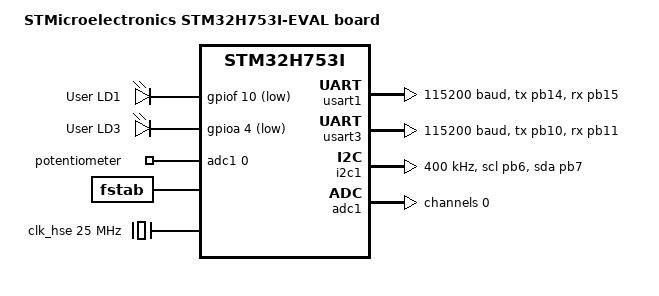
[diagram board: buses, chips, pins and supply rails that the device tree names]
/dts-v1/;
#include <st/h7/stm32h753Xi.dtsi>
#include <st/h7/stm32h753xihx-pinctrl.dtsi>

/ {
	model = "STMicroelectronics STM32H753I-EVAL board";
	compatible = "st,stm32h753i-eval";

	aliases {
		adc0 = &adc1;
		led0 = &green_led;
	};

	chosen {
		zephyr,sram = &sram0;
		zephyr,console = &usart1;
		zephyr,shell-uart = &usart1;
		zephyr,flash = &flash0;
		zephyr,code-partition = &slot0_partition;
	};

	leds {
		compatible = "gpio-leds";

		green_led: led_1 {
			gpios = <&gpiof 10 GPIO_ACTIVE_LOW>;
			label = "User LD1";
			status = "okay";
		};

		red_led: led_3 {
			gpios = <&gpioa 4 GPIO_ACTIVE_LOW>;
			label = "User LD3";
			status = "okay";
		};
	};

	zephyr,user {
		io-channels = <&adc1 0>;
		io-channel-names = "potentiometer";
	};

	fstab {
		compatible = "zephyr,fstab";
		lfs1: lfs1 {
			compatible = "zephyr,fstab,littlefs";
			read-size = <32>;
			prog-size = <32>;
			cache-size = <64>;
			lookahead-size = <32>;
			block-cycles = <512>;
			mount-point = "/littlefs";
			partition = <&little_fs_partition>;
			automount;
		};
	};
};

&clk_hse {
	clock-frequency = <DT_FREQ_M(25)>;
	status = "okay";
};

&clk_hsi48 {
	status = "okay";
};

&flash0 {
	partitions {
		compatible = "fixed-partitions";
		#address-cells = <1>;
		#size-cells = <1>;

		boot_partition: partition@0 {
			label = "mcuboot";
			reg = <0x00000000 DT_SIZE_K(128)>;
		};

		slot0_partition: partition@20000 {
			label = "image-0";
			reg = <0x00020000 DT_SIZE_K(256)>;
		};

		slot1_partition: partition@60000 {
			label = "image-1";
			reg = <0x00060000 DT_SIZE_K(384)>;
		};

		little_fs_partition: partition@c0000 {
			label = "storage";
			reg = <0x000c0000 DT_SIZE_K(256)>;
		};
	};
};

&pll {
	div-m = <5>;
	mul-n = <160>;
	div-p = <2>;
	div-q = <4>;
	div-r = <2>;
	clocks = <&clk_hse>;
	status = "okay";
};

&pll2 {
	div-m = <5>;
	mul-n = <96>;
	div-p = <2>;
	div-q = <4>;
	div-r = <10>;
	clocks = <&clk_hse>;  /* Assuming 25MHz HSE */
	status = "okay";
};

&rcc {
	clocks = <&pll>;
	clock-frequency = <DT_FREQ_M(400)>;
	d1cpre = <1>;
	hpre = <2>;
	d1ppre = <2>;
	d2ppre1 = <2>;
	d2ppre2 = <2>;
	d3ppre = <2>;
};

&pwr {
	power-supply = "ldo";
};

&usart1 {
	pinctrl-0 = <&usart1_tx_pb14 &usart1_rx_pb15>;
	pinctrl-names = "default";
	current-speed = <115200>;
	status = "okay";
};

&usart3 {
	pinctrl-0 = <&usart3_tx_pb10 &usart3_rx_pb11>;
	pinctrl-names = "default";
	current-speed = <115200>;
	status = "okay";
};

&i2c1 {
	pinctrl-0 = <&i2c1_scl_pb6 &i2c1_sda_pb7>;
	pinctrl-names = "default";
	status = "okay";
	clock-frequency = <I2C_BITRATE_FAST>;
};

&adc1 {
	#address-cells = <1>;
	#size-cells = <0>;

	clocks = <&rcc STM32_CLOCK(AHB1, 5)>,
		 <&rcc STM32_SRC_CKPER ADC_SEL(2)>;
	clock-names = "adcx", "adc_ker";
	pinctrl-0 = <&adc1_inp0_pa0_c>;
	pinctrl-names = "default";
	st,adc-clock-source = "ASYNC";
	st,adc-prescaler = <4>;
	status = "okay";

	potentiometer: channel@0 {
		reg = <0>;
		zephyr,gain = "ADC_GAIN_1";
		zephyr,reference = "ADC_REF_INTERNAL";
		zephyr,vref-mv = <3300>;
		zephyr,acquisition-time = <ADC_ACQ_TIME_DEFAULT>;
		zephyr,resolution = <12>;
	};
};
